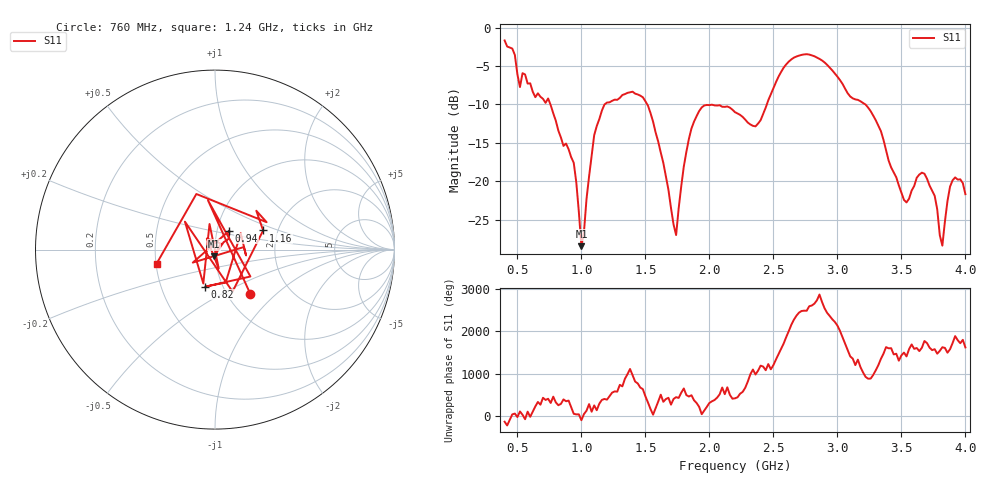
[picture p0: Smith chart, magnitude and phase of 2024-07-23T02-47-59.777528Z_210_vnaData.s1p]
!Created with skrf (http://scikit-rf.org).
# Hz S RI R 50.0
!freq ReS11 ImS11
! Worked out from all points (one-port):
!   181 points, 400 MHz to 4 GHz, reference 50 ohm
!   lowest |S11| = -28.5 dB at 1 GHz (marker M1), VSWR 1.08, Z = 49.3 - j3.68 ohm
!   |S11| at or under -10 dB: 758.2 MHz to 1.18 GHz (422.3 MHz wide, 43.6 % of centre); 1.515 GHz to 2.448 GHz (933.6 MHz wide, 47.1 % of centre); 3.22 GHz to end of sweep
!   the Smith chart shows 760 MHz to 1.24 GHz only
!   S11 on the Smith chart (normalised r, x): 760 MHz: 1.28, -0.69; 820 MHz: 0.83, -0.36; 940 MHz: 1.14, +0.25; 1.16 GHz: 1.68, +0.39; 1.24 GHz: 0.50, -0.09
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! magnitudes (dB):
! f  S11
! 400 MHz  -1.7
! 480 MHz  -3.5
! 520 MHz  -7.7
! 760 MHz  -10.1
! 820 MHz  -13.4
! 860 MHz  -15.4
! 940 MHz  -17.6
! 1 GHz  -28.5
! 1.1 GHz  -14.0
! 1.16 GHz  -10.8
! 1.24 GHz  -9.5
! 1.3 GHz  -9.1
! 1.52 GHz  -10.1
! 1.74 GHz  -27.0
! 1.76 GHz  -23.5
! 1.84 GHz  -14.5
! 1.92 GHz  -10.9
! 2.2 GHz  -11.0
! 2.36 GHz  -12.9
! 2.66 GHz  -3.9
! 3.1 GHz  -9.0
! 3.28 GHz  -11.4
! 3.56 GHz  -22.3
! 3.68 GHz  -19.0
! 3.76 GHz  -21.9
! 3.82 GHz  -28.4
! 3.9 GHz  -19.9
! 4 GHz  -21.7
